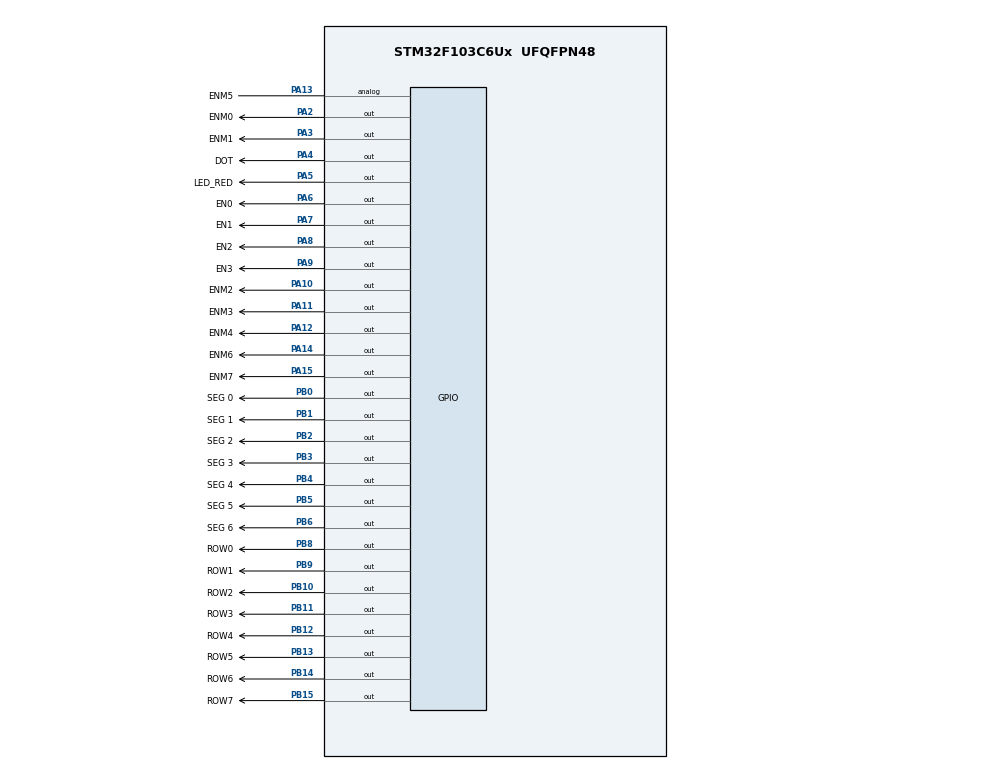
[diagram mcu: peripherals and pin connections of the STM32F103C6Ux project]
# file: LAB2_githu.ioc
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Mcu.Family=STM32F1
Mcu.Name=STM32F103C6Ux
Mcu.Package=UFQFPN48
NVIC.PriorityGroup=NVIC_PRIORITYGROUP_4
NVIC.TIM2_IRQn=true\:0\:0\:false\:false\:true\:true\:true
PA10.GPIO_Label=ENM2
PA10.Signal=GPIO_Output
PA11.GPIO_Label=ENM3
PA11.Signal=GPIO_Output
PA12.GPIO_Label=ENM4
PA12.Signal=GPIO_Output
PA13.GPIO_Label=ENM5
PA13.Signal=GPIO_Analog
PA14.GPIO_Label=ENM6
PA14.Signal=GPIO_Output
PA15.GPIO_Label=ENM7
PA15.Signal=GPIO_Output
PA2.GPIO_Label=ENM0
PA2.Signal=GPIO_Output
PA3.GPIO_Label=ENM1
PA3.Signal=GPIO_Output
PA4.GPIO_Label=DOT
PA4.Signal=GPIO_Output
PA5.GPIO_Label=LED_RED
PA5.Signal=GPIO_Output
PA6.GPIO_Label=EN0
PA6.Signal=GPIO_Output
PA7.GPIO_Label=EN1
PA7.Signal=GPIO_Output
PA8.GPIO_Label=EN2
PA8.Signal=GPIO_Output
PA9.GPIO_Label=EN3
PA9.Signal=GPIO_Output
PB0.GPIO_Label=SEG 0
PB0.Signal=GPIO_Output
PB1.GPIO_Label=SEG 1
PB1.Signal=GPIO_Output
PB10.GPIO_Label=ROW2
PB10.Signal=GPIO_Output
PB11.GPIO_Label=ROW3
PB11.Signal=GPIO_Output
PB12.GPIO_Label=ROW4
PB12.Signal=GPIO_Output
PB13.GPIO_Label=ROW5
PB13.Signal=GPIO_Output
PB14.GPIO_Label=ROW6
PB14.Signal=GPIO_Output
PB15.GPIO_Label=ROW7
PB15.Signal=GPIO_Output
PB2.GPIO_Label=SEG 2
PB2.Signal=GPIO_Output
PB3.GPIO_Label=SEG 3
PB3.Signal=GPIO_Output
PB4.GPIO_Label=SEG 4
PB4.Signal=GPIO_Output
PB5.GPIO_Label=SEG 5
PB5.Signal=GPIO_Output
PB6.GPIO_Label=SEG 6
PB6.Signal=GPIO_Output
PB8.GPIO_Label=ROW0
PB8.Signal=GPIO_Output
PB9.GPIO_Label=ROW1
PB9.Signal=GPIO_Output
ProjectManager.HeapSize=0x200
ProjectManager.StackSize=0x400
ProjectManager.TargetToolchain=STM32CubeIDE
RCC.APB1Freq_Value=8000000
RCC.APB2Freq_Value=8000000
TIM2.Period=9
TIM2.Prescaler=7999
VP_SYS_VS_ND.Mode=No_Debug
VP_TIM2_VS_ClockSourceINT.Mode=Internal
board=custom

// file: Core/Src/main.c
/* USER CODE BEGIN Header */
/**
  ******************************************************************************
  * @file           : main.c
  * @brief          : Main program body
  ******************************************************************************
  * @attention
  *
  * <h2><center>&copy; Copyright (c) 2024 STMicroelectronics.
  * All rights reserved.</center></h2>
  *
  * This software component is licensed by ST under BSD 3-Clause license,
  * the "License"; You may not use this file except in compliance with the
  * License. You may obtain a copy of the License at:
  *                        opensource.org/licenses/BSD-3-Clause
  *
  ******************************************************************************
  */
/* USER CODE END Header */
#include "main.h"

/* USER CODE BEGIN Includes */

#include "ex1.h"
#include "display7SEG.h"
#include "software-timer.h"
/* USER CODE END Includes */

TIM_HandleTypeDef htim2;

void SystemClock_Config(void);
static void MX_GPIO_Init(void);
static void MX_TIM2_Init(void);

int main(void)
{

  /* MCU Configuration--------------------------------------------------------*/

  /* Reset of all peripherals, Initializes the Flash interface and the Systick. */
  HAL_Init();

  /* Configure the system clock */
  SystemClock_Config();

  /* Initialize all configured peripherals */
  MX_GPIO_Init();
  MX_TIM2_Init();
  /* USER CODE BEGIN 2 */
  HAL_TIM_Base_Start_IT(&htim2);
  /* USER CODE END 2 */

  /* Infinite loop */
  /* USER CODE BEGIN WHILE */
  init_ex1();
  settimer1(0,17);
  settimer2(1,1);
  while (1)
  {
	  if(timerFlag[0]==1){
		  ex1_run();
		  settimer2(0,20);
	  }
	  if(timerFlag[1]==1){
	  HAL_GPIO_TogglePin(GPIOA, LED_RED_Pin);
	  settimer1(1,20 );
	  }

    /* USER CODE END WHILE */

  }
}

void SystemClock_Config(void)
{
  RCC_OscInitTypeDef RCC_OscInitStruct = {0};
  RCC_ClkInitTypeDef RCC_ClkInitStruct = {0};

  /** Initializes the RCC Oscillators according to the specified parameters
  * in the RCC_OscInitTypeDef structure.
  */
  RCC_OscInitStruct.OscillatorType = RCC_OSCILLATORTYPE_HSI;
  RCC_OscInitStruct.HSIState = RCC_HSI_ON;
  RCC_OscInitStruct.HSICalibrationValue = RCC_HSICALIBRATION_DEFAULT;
  RCC_OscInitStruct.PLL.PLLState = RCC_PLL_NONE;
  if (HAL_RCC_OscConfig(&RCC_OscInitStruct) != HAL_OK)
  {
    Error_Handler();
  }
  /** Initializes the CPU, AHB and APB buses clocks
  */
  RCC_ClkInitStruct.ClockType = RCC_CLOCKTYPE_HCLK|RCC_CLOCKTYPE_SYSCLK
                              |RCC_CLOCKTYPE_PCLK1|RCC_CLOCKTYPE_PCLK2;
  RCC_ClkInitStruct.SYSCLKSource = RCC_SYSCLKSOURCE_HSI;
  RCC_ClkInitStruct.AHBCLKDivider = RCC_SYSCLK_DIV1;
  RCC_ClkInitStruct.APB1CLKDivider = RCC_HCLK_DIV1;
  RCC_ClkInitStruct.APB2CLKDivider = RCC_HCLK_DIV1;

  if (HAL_RCC_ClockConfig(&RCC_ClkInitStruct, FLASH_LATENCY_0) != HAL_OK)
  {
    Error_Handler();
  }
}

static void MX_TIM2_Init(void)
{

  TIM_ClockConfigTypeDef sClockSourceConfig = {0};
  TIM_MasterConfigTypeDef sMasterConfig = {0};

  htim2.Instance = TIM2;
  htim2.Init.Prescaler = 7999;
  htim2.Init.CounterMode = TIM_COUNTERMODE_UP;
  htim2.Init.Period = 9;
  htim2.Init.ClockDivision = TIM_CLOCKDIVISION_DIV1;
  htim2.Init.AutoReloadPreload = TIM_AUTORELOAD_PRELOAD_DISABLE;
  if (HAL_TIM_Base_Init(&htim2) != HAL_OK)
  {
    Error_Handler();
  }
  sClockSourceConfig.ClockSource = TIM_CLOCKSOURCE_INTERNAL;
  if (HAL_TIM_ConfigClockSource(&htim2, &sClockSourceConfig) != HAL_OK)
  {
    Error_Handler();
  }
  sMasterConfig.MasterOutputTrigger = TIM_TRGO_RESET;
  sMasterConfig.MasterSlaveMode = TIM_MASTERSLAVEMODE_DISABLE;
  if (HAL_TIMEx_MasterConfigSynchronization(&htim2, &sMasterConfig) != HAL_OK)
  {
    Error_Handler();
  }

}

static void MX_GPIO_Init(void)
{
  GPIO_InitTypeDef GPIO_InitStruct = {0};

  /* GPIO Ports Clock Enable */
  __HAL_RCC_GPIOA_CLK_ENABLE();
  __HAL_RCC_GPIOB_CLK_ENABLE();

  /*Configure GPIO pin Output Level */
  HAL_GPIO_WritePin(GPIOA, ENM0_Pin|ENM1_Pin|DOT_Pin|LED_RED_Pin
                          |EN0_Pin|EN1_Pin|EN2_Pin|EN3_Pin
                          |ENM2_Pin|ENM3_Pin|ENM4_Pin|ENM6_Pin
                          |ENM7_Pin, GPIO_PIN_RESET);

  /*Configure GPIO pin Output Level */
  HAL_GPIO_WritePin(GPIOB, SEG_0_Pin|SEG_1_Pin|SEG_2_Pin|ROW2_Pin
                          |ROW3_Pin|ROW4_Pin|ROW5_Pin|ROW6_Pin
                          |ROW7_Pin|SEG_3_Pin|SEG_4_Pin|SEG_5_Pin
                          |SEG_6_Pin|ROW0_Pin|ROW1_Pin, GPIO_PIN_RESET);

  /*Configure GPIO pins : ENM0_Pin ENM1_Pin DOT_Pin LED_RED_Pin
                           EN0_Pin EN1_Pin EN2_Pin EN3_Pin
                           ENM2_Pin ENM3_Pin ENM4_Pin ENM6_Pin
                           ENM7_Pin */
  GPIO_InitStruct.Pin = ENM0_Pin|ENM1_Pin|DOT_Pin|LED_RED_Pin
                          |EN0_Pin|EN1_Pin|EN2_Pin|EN3_Pin
                          |ENM2_Pin|ENM3_Pin|ENM4_Pin|ENM6_Pin
                          |ENM7_Pin;
  GPIO_InitStruct.Mode = GPIO_MODE_OUTPUT_PP;
  GPIO_InitStruct.Pull = GPIO_NOPULL;
  GPIO_InitStruct.Speed = GPIO_SPEED_FREQ_LOW;
  HAL_GPIO_Init(GPIOA, &GPIO_InitStruct);

  /*Configure GPIO pins : SEG_0_Pin SEG_1_Pin SEG_2_Pin ROW2_Pin
                           ROW3_Pin ROW4_Pin ROW5_Pin ROW6_Pin
                           ROW7_Pin SEG_3_Pin SEG_4_Pin SEG_5_Pin
                           SEG_6_Pin ROW0_Pin ROW1_Pin */
  GPIO_InitStruct.Pin = SEG_0_Pin|SEG_1_Pin|SEG_2_Pin|ROW2_Pin
                          |ROW3_Pin|ROW4_Pin|ROW5_Pin|ROW6_Pin
                          |ROW7_Pin|SEG_3_Pin|SEG_4_Pin|SEG_5_Pin
                          |SEG_6_Pin|ROW0_Pin|ROW1_Pin;
  GPIO_InitStruct.Mode = GPIO_MODE_OUTPUT_PP;
  GPIO_InitStruct.Pull = GPIO_NOPULL;
  GPIO_InitStruct.Speed = GPIO_SPEED_FREQ_LOW;
  HAL_GPIO_Init(GPIOB, &GPIO_InitStruct);

  /*Configure GPIO pin : ENM5_Pin */
  GPIO_InitStruct.Pin = ENM5_Pin;
  GPIO_InitStruct.Mode = GPIO_MODE_ANALOG;
  HAL_GPIO_Init(ENM5_GPIO_Port, &GPIO_InitStruct);

}

/* USER CODE BEGIN 4 */
void HAL_TIM_PeriodElapsedCallback(TIM_HandleTypeDef *htim){
	timerRun();
}
/* USER CODE END 4 */

void Error_Handler(void)
{
  __disable_irq();
  while (1)
  {
  }
}

/************************ (C) COPYRIGHT STMicroelectronics *****END OF FILE****/
